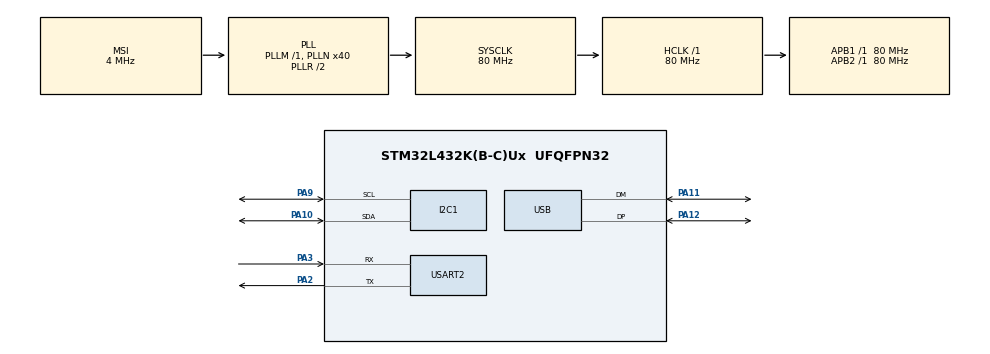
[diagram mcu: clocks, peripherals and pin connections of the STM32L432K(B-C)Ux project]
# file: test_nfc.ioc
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I2C1.AddressingMode=I2C_ADDRESSINGMODE_7BIT
I2C1.Timing=0x10909CEC
Mcu.Family=STM32L4
Mcu.Name=STM32L432K(B-C)Ux
Mcu.Package=UFQFPN32
NVIC.I2C1_EV_IRQn=true\:2\:0\:true\:false\:true\:true\:true\:true
NVIC.PriorityGroup=NVIC_PRIORITYGROUP_4
NVIC.RNG_IRQn=true\:1\:0\:true\:false\:true\:true\:true\:true
NVIC.USB_IRQn=true\:3\:0\:true\:false\:true\:false\:true\:true
PA0.Mode=HSE-External-Clock-Source-for-LittleOrca
PA0.Signal=RCC_CK_IN
PA10.Mode=I2C
PA10.Signal=I2C1_SDA
PA11.Mode=Device
PA11.Signal=USB_DM
PA12.Mode=Device
PA12.Signal=USB_DP
PA2.Mode=Asynchronous
PA2.Signal=USART2_TX
PA3.Mode=Asynchronous
PA3.Signal=USART2_RX
PA9.Mode=I2C
PA9.Signal=I2C1_SCL
ProjectManager.HeapSize=0x200
ProjectManager.StackSize=0x400
ProjectManager.TargetToolchain=STM32CubeIDE
RCC.ADCFreq_Value=48000000
RCC.AHBFreq_Value=80000000
RCC.APB1Freq_Value=80000000
RCC.APB1TimFreq_Value=80000000
RCC.APB2Freq_Value=80000000
RCC.APB2TimFreq_Value=80000000
RCC.CortexFreq_Value=80000000
RCC.HCLKFreq_Value=80000000
RCC.HSE_VALUE=8000000
RCC.HSI48_VALUE=48000000
RCC.HSI_VALUE=16000000
RCC.LSE_VALUE=32768
RCC.MSI_VALUE=4000000
RCC.PLLN=40
RCC.PLLSAI1N=24
RCC.SYSCLKFreq_VALUE=80000000
RCC.SYSCLKSource=RCC_SYSCLKSOURCE_PLLCLK
RCC.USBFreq_Value=48000000
RCC.VCOOutputFreq_Value=160000000
USART2.VirtualMode-Asynchronous=VM_ASYNC
USB_DEVICE.CLASS_NAME_FS=CUSTOM_HID
USB_DEVICE.CUSTOM_HID_FS_BINTERVAL=0x0A
USB_DEVICE.INTERFACE_STRING_CUSTOMHID_FS=U2F HID Interface
USB_DEVICE.PID_CUSTOMHID_FS=2128 
USB_DEVICE.PRODUCT_STRING_CUSTOMHID_FS=STM32 U2F
USB_DEVICE.USBD_CUSTOMHID_OUTREPORT_BUF_SIZE=64
USB_DEVICE.USBD_CUSTOM_HID_REPORT_DESC_SIZE=34
USB_DEVICE.VID=2414
USB_DEVICE.VirtualMode=CustomHid
USB_DEVICE.VirtualModeFS=Custom_Hid_FS
VP_RNG_VS_RNG.Mode=RNG_Activate
VP_USB_DEVICE_VS_USB_DEVICE_CUSTOM_HID_FS.Mode=CUSTOM_HID_FS
board=custom

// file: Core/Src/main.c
/* USER CODE BEGIN Header */
/**
  ******************************************************************************
  * @file           : main.c
  * @brief          : Main program body
  ******************************************************************************
  * @attention
  *
  * Copyright (c) 2023 STMicroelectronics.
  * All rights reserved.
  *
  * This software is licensed under terms that can be found in the LICENSE file
  * in the root directory of this software component.
  * If no LICENSE file comes with this software, it is provided AS-IS.
  *
  ******************************************************************************
  */
/* USER CODE END Header */
#include "main.h"
#include "i2c.h"
#include "rng.h"
#include "usart.h"
#include "usb_device.h"
#include "gpio.h"

void SystemClock_Config(void);
void PeriphCommonClock_Config(void);

int main(void)
{

  /* MCU Configuration--------------------------------------------------------*/

  /* Reset of all peripherals, Initializes the Flash interface and the Systick. */
  HAL_Init();

  /* Configure the system clock */
  SystemClock_Config();

/* Configure the peripherals common clocks */
  PeriphCommonClock_Config();

  /* Initialize all configured peripherals */
  MX_GPIO_Init();
  MX_I2C1_Init();
  MX_USART2_UART_Init();
  MX_USB_DEVICE_Init();
  MX_RNG_Init();
  /* USER CODE BEGIN 2 */

  HAL_Delay(1500);
  printf("Searching\r\n");
  Get_Firmware_Version();
  Set_SAM_Configuration(PN532_MODE_NORMAL);
  HAL_Delay(1000);

  /* USER CODE END 2 */

  /* Infinite loop */
  while (1)
  {

  }
}

void SystemClock_Config(void)
{
  RCC_OscInitTypeDef RCC_OscInitStruct = {0};
  RCC_ClkInitTypeDef RCC_ClkInitStruct = {0};

  /** Configure the main internal regulator output voltage
  */
  if (HAL_PWREx_ControlVoltageScaling(PWR_REGULATOR_VOLTAGE_SCALE1) != HAL_OK)
  {
    Error_Handler();
  }

  /** Initializes the RCC Oscillators according to the specified parameters
  * in the RCC_OscInitTypeDef structure.
  */
  RCC_OscInitStruct.OscillatorType = RCC_OSCILLATORTYPE_MSI;
  RCC_OscInitStruct.MSIState = RCC_MSI_ON;
  RCC_OscInitStruct.MSICalibrationValue = 0;
  RCC_OscInitStruct.MSIClockRange = RCC_MSIRANGE_6;
  RCC_OscInitStruct.PLL.PLLState = RCC_PLL_ON;
  RCC_OscInitStruct.PLL.PLLSource = RCC_PLLSOURCE_MSI;
  RCC_OscInitStruct.PLL.PLLM = 1;
  RCC_OscInitStruct.PLL.PLLN = 40;
  RCC_OscInitStruct.PLL.PLLP = RCC_PLLP_DIV7;
  RCC_OscInitStruct.PLL.PLLQ = RCC_PLLQ_DIV2;
  RCC_OscInitStruct.PLL.PLLR = RCC_PLLR_DIV2;
  if (HAL_RCC_OscConfig(&RCC_OscInitStruct) != HAL_OK)
  {
    Error_Handler();
  }

  /** Initializes the CPU, AHB and APB buses clocks
  */
  RCC_ClkInitStruct.ClockType = RCC_CLOCKTYPE_HCLK|RCC_CLOCKTYPE_SYSCLK
                              |RCC_CLOCKTYPE_PCLK1|RCC_CLOCKTYPE_PCLK2;
  RCC_ClkInitStruct.SYSCLKSource = RCC_SYSCLKSOURCE_PLLCLK;
  RCC_ClkInitStruct.AHBCLKDivider = RCC_SYSCLK_DIV1;
  RCC_ClkInitStruct.APB1CLKDivider = RCC_HCLK_DIV1;
  RCC_ClkInitStruct.APB2CLKDivider = RCC_HCLK_DIV1;

  if (HAL_RCC_ClockConfig(&RCC_ClkInitStruct, FLASH_LATENCY_4) != HAL_OK)
  {
    Error_Handler();
  }
}

void PeriphCommonClock_Config(void)
{
  RCC_PeriphCLKInitTypeDef PeriphClkInit = {0};

  /** Initializes the peripherals clock
  */
  PeriphClkInit.PeriphClockSelection = RCC_PERIPHCLK_USB|RCC_PERIPHCLK_RNG;
  PeriphClkInit.UsbClockSelection = RCC_USBCLKSOURCE_PLLSAI1;
  PeriphClkInit.RngClockSelection = RCC_RNGCLKSOURCE_PLLSAI1;
  PeriphClkInit.PLLSAI1.PLLSAI1Source = RCC_PLLSOURCE_MSI;
  PeriphClkInit.PLLSAI1.PLLSAI1M = 1;
  PeriphClkInit.PLLSAI1.PLLSAI1N = 24;
  PeriphClkInit.PLLSAI1.PLLSAI1P = RCC_PLLP_DIV7;
  PeriphClkInit.PLLSAI1.PLLSAI1Q = RCC_PLLQ_DIV2;
  PeriphClkInit.PLLSAI1.PLLSAI1R = RCC_PLLR_DIV2;
  PeriphClkInit.PLLSAI1.PLLSAI1ClockOut = RCC_PLLSAI1_48M2CLK;
  if (HAL_RCCEx_PeriphCLKConfig(&PeriphClkInit) != HAL_OK)
  {
    Error_Handler();
  }
}

/* USER CODE BEGIN 4 */
void scan_i2c_bus(void)
{
    printf("Scanning I2C bus:\r\n");
    HAL_StatusTypeDef result;
    uint8_t i;
    for (i=1; i<128; i++)
    {
        result = HAL_I2C_IsDeviceReady(&hi2c1, (uint16_t)(i<<1), 2, 2);
        if (result != HAL_OK) // HAL_ERROR or HAL_BUSY or HAL_TIMEOUT
        {
            printf("."); // No ACK received at that address
        }
        if (result == HAL_OK)
        {
            printf("0x%X", i); // Received an ACK at that address
        }
    }
    printf("\r\n");
}

int __io_putchar(int ch)
{
    HAL_UART_Transmit(&huart2, (uint8_t*)&ch, 1, HAL_MAX_DELAY);
    return 1;
}
/* USER CODE END 4 */

void Error_Handler(void)
{
  __disable_irq();
  while (1)
  {
  }
}
